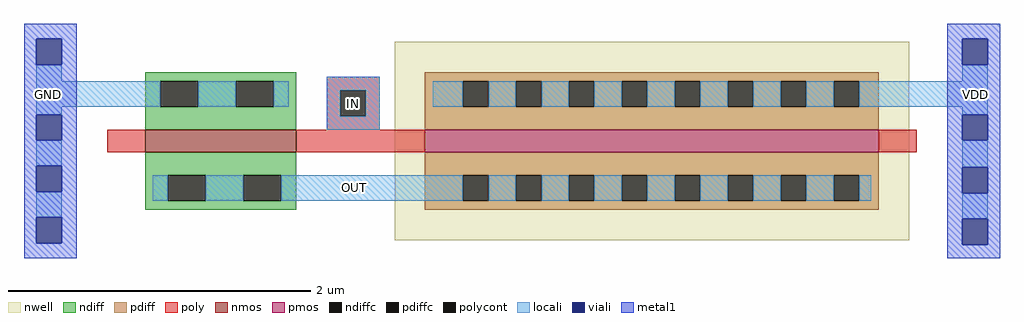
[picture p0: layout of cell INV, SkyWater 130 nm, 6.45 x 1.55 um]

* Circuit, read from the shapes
.subckt INV GND IN OUT VDD
XM1 GND IN OUT VSUBS sky130_fd_pr__nfet_01v8 w=1 l=0.15
XM2 VDD IN OUT n1 sky130_fd_pr__pfet_01v8 w=3 l=0.15
.ends

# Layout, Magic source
magic
tech sky130A
<< nwell >>
rect 175 -48 515 83
<< nmos >>
rect 10 10 110 25
<< pmos >>
rect 195 10 495 25
<< ndiff >>
rect 10 57 110 63
rect 10 40 20 57
rect 45 40 70 57
rect 95 40 110 57
rect 10 25 110 40
rect 10 -5 110 10
rect 10 -22 25 -5
rect 50 -22 75 -5
rect 100 -22 110 -5
rect 10 -28 110 -22
<< pdiff >>
rect 195 57 495 63
rect 195 40 220 57
rect 237 40 255 57
rect 272 40 290 57
rect 307 40 325 57
rect 342 40 360 57
rect 377 40 395 57
rect 412 40 430 57
rect 447 40 465 57
rect 482 40 495 57
rect 195 25 495 40
rect 195 -5 495 10
rect 195 -22 220 -5
rect 237 -22 255 -5
rect 272 -22 290 -5
rect 307 -22 325 -5
rect 342 -22 360 -5
rect 377 -22 395 -5
rect 412 -22 430 -5
rect 447 -22 465 -5
rect 482 -22 495 -5
rect 195 -28 495 -22
<< ndiffc >>
rect 20 40 45 57
rect 70 40 95 57
rect 25 -22 50 -5
rect 75 -22 100 -5
<< pdiffc >>
rect 220 40 237 57
rect 255 40 272 57
rect 290 40 307 57
rect 325 40 342 57
rect 360 40 377 57
rect 395 40 412 57
rect 430 40 447 57
rect 465 40 482 57
rect 220 -22 237 -5
rect 255 -22 272 -5
rect 290 -22 307 -5
rect 325 -22 342 -5
rect 360 -22 377 -5
rect 395 -22 412 -5
rect 430 -22 447 -5
rect 465 -22 482 -5
<< poly >>
rect 130 51 165 60
rect 130 34 139 51
rect 156 34 165 51
rect 130 25 165 34
rect -15 10 10 25
rect 110 10 195 25
rect 495 10 520 25
<< polycont >>
rect 139 34 156 51
<< locali >>
rect -62 57 -45 68
rect -62 40 20 57
rect 45 40 70 57
rect 95 40 105 57
rect 130 51 165 60
rect 550 57 567 68
rect -62 35 -45 40
rect 130 34 139 51
rect 156 34 165 51
rect 200 40 220 57
rect 237 40 255 57
rect 272 40 290 57
rect 307 40 325 57
rect 342 40 360 57
rect 377 40 395 57
rect 412 40 430 57
rect 447 40 465 57
rect 482 40 567 57
rect 130 25 165 34
rect 550 35 567 40
rect -62 1 -45 18
rect 550 0 567 18
rect -62 -33 -45 -16
rect 15 -22 25 -5
rect 50 -22 75 -5
rect 100 -22 220 -5
rect 237 -22 255 -5
rect 272 -22 290 -5
rect 307 -22 325 -5
rect 342 -22 360 -5
rect 377 -22 395 -5
rect 412 -22 430 -5
rect 447 -22 465 -5
rect 482 -22 490 -5
rect 550 -34 567 -17
<< viali >>
rect -62 68 -45 85
rect 550 68 567 85
rect -62 18 -45 35
rect -62 -16 -45 1
rect 550 18 567 35
rect 550 -17 567 0
rect -62 -50 -45 -33
rect 550 -51 567 -34
<< metal1 >>
rect -70 85 -35 95
rect -70 68 -62 85
rect -45 68 -35 85
rect -70 35 -35 68
rect -70 18 -62 35
rect -45 18 -35 35
rect -70 1 -35 18
rect -70 -16 -62 1
rect -45 -16 -35 1
rect -70 -33 -35 -16
rect -70 -50 -62 -33
rect -45 -50 -35 -33
rect -70 -60 -35 -50
rect 540 85 575 95
rect 540 68 550 85
rect 567 68 575 85
rect 540 35 575 68
rect 540 18 550 35
rect 567 18 575 35
rect 540 0 575 18
rect 540 -17 550 0
rect 567 -17 575 0
rect 540 -34 575 -17
rect 540 -51 550 -34
rect 567 -51 575 -34
rect 540 -60 575 -51
<< labels >>
flabel metal1 -62 40 -45 57 0 FreeSans 80 0 0 0 GND
flabel polycont 139 34 156 51 0 FreeSans 80 0 0 0 IN
flabel metal1 550 40 567 57 0 FreeSans 80 0 0 0 VDD
flabel locali 140 -22 157 -5 0 FreeSans 80 0 0 0 OUT
<< end >>
